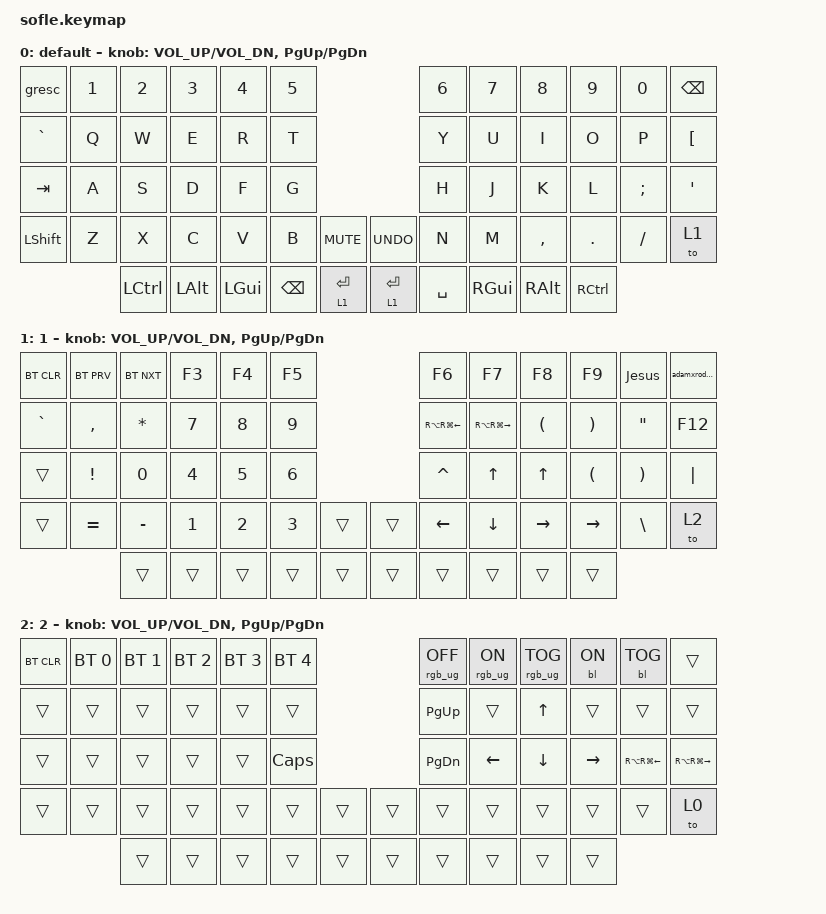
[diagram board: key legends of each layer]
/*
 * Copyright (c) 2020 The ZMK Contributors
 *
 * SPDX-License-Identifier: MIT
 */

#include <behaviors.dtsi>
#include <dt-bindings/zmk/backlight.h>
#include <dt-bindings/zmk/bt.h>
#include <dt-bindings/zmk/keys.h>
#include <dt-bindings/zmk/rgb.h>

#define BASE 0
#define LOWER 1
#define RAISE 2
#define ADJUST 3

/ {
    // Activate ADJUST layer by pressing raise and lower

    conditional_layers {
        compatible = "zmk,conditional-layers";

        adjust_layer {
            if-layers = <1 2>;
            then-layer = <3>;
        };
    };

    behaviors {
        rot_pg: rot_pg {
            compatible = "zmk,behavior-sensor-rotate";   // or "zmk,behavior-sensor-rotate-var"
            #sensor-binding-cells = <0>;
            bindings = <&kp PG_UP>, <&kp PG_DN>;

            // CW -> PgUp, CCW -> PgDn
        };

        rot_kp: sensor_rotate_kp {
            compatible = "zmk,behavior-sensor-rotate-var";
            #sensor-binding-cells = <2>;     // VAR needs 2 params
            bindings = <&kp>, <&kp>;

            // CW uses first &kp param, CCW uses second

            tap-ms = <5>;                    // optional
        };
    };

    macros {
        Jesus: Jesus {
            compatible = "zmk,behavior-macro";
            #binding-cells = <0>;
            bindings = <&kp LS(J) &kp E &kp S &kp U &kp S>;
            label = "JESUS";
        };

        adamxrodriguez: adamxrodriguez {
            compatible = "zmk,behavior-macro";
            #binding-cells = <0>;
            bindings = <&kp A &kp D &kp A &kp M &kp X &kp R &kp O &kp D &kp R &kp I &kp G &kp U &kp E &kp Z &kp AT &kp G &kp M &kp A &kp I &kp L &kp DOT &kp C &kp O &kp M>;
            label = "ADAMXRODRIGUEZ";
        };
    };

    keymap {
        compatible = "zmk,keymap";

        base_layer {
            display-name = "default";

            // ------------------------------------------------------------------------------------------------------------
            // |   `   |  1  |  2  |  3   |  4   |  5   |                   |  6   |  7    |  8    |  9   |   0   |       |
            // |  ESC  |  Q  |  W  |  E   |  R   |  T   |                   |  Y   |  U    |  I    |  O   |   P   | BKSPC |
            // |  TAB  |  A  |  S  |  D   |  F   |  G   |                   |  H   |  J    |  K    |  L   |   ;   |   '   |
            // | SHIFT |  Z  |  X  |  C   |  V   |  B   |  MUTE  |  |       |  N   |  M    |  ,    |  .   |   /   | SHIFT |
            //               | GUI | ALT  | CTRL | LOWER|  ENTER |  | SPACE | RAISE| CTRL  | ALT   | GUI  |

            bindings = <
&gresc     &kp N1  &kp N2     &kp N3    &kp N4    &kp N5                                       &kp N6     &kp N7    &kp N8     &kp N9     &kp N0    &kp BACKSPACE
&kp GRAVE  &kp Q   &kp W      &kp E     &kp R     &kp T                                        &kp Y      &kp U     &kp I      &kp O      &kp P     &kp LEFT_BRACKET
&kp TAB    &kp A   &kp S      &kp D     &kp F     &kp G                                        &kp H      &kp J     &kp K      &kp L      &kp SEMI  &kp SQT
&kp LSHFT  &kp Z   &kp X      &kp C     &kp V     &kp B          &kp C_MUTE      &kp K_UNDO    &kp N      &kp M     &kp COMMA  &kp DOT    &kp FSLH  &to 1
                   &kp LCTRL  &kp LALT  &kp LGUI  &kp BACKSPACE  &lt 1 RETURN    &lt 1 RETURN  &kp SPACE  &kp RGUI  &kp RALT   &kp RCTRL
            >;

            sensor-bindings = <&inc_dec_kp C_VOL_UP C_VOL_DN &inc_dec_kp PG_UP PG_DN>;
        };

        numbers {
            display-name = "1";

            // TODO: Some binds are waiting for shifted keycode support.
            // ------------------------------------------------------------------------------------------------------------
            // |       |  F1 |  F2 |  F3  |  F4  |  F5  |                   |  F6  |  F7   |  F8   |  F9  |  F10  |  F11  |
            // |   `   |  1  |  2  |  3   |  4   |  5   |                   |  6   |  7    |  8    |  9   |   0   |  F12  |
            // |       |  !  |  @  |  #   |  $   |  %   |                   |  ^   |  &    |  *    |  (   |   )   |   |   |
            // |       |  =  |  -  |  +   |  {   |  }   |        |  |       |  [   |  ]    |  ;    |  :   |   \   |       |
            //               |     |      |      |      |        |  |       |      |       |       |      |

            bindings = <
&bt BT_CLR  &bt BT_PRV  &bt BT_NXT    &kp F3        &kp F4        &kp F5                          &kp F6                  &kp F7                   &kp F8                &kp F9                 &Jesus             &adamxrodriguez
&kp GRAVE   &kp COMMA   &kp ASTERISK  &kp NUMBER_7  &kp NUMBER_8  &kp NUMBER_9                    &kp RA(RG(LEFT_ARROW))  &kp RA(RG(RIGHT_ARROW))  &kp LEFT_PARENTHESIS  &kp RIGHT_PARENTHESIS  &kp DOUBLE_QUOTES  &kp F12
&trans      &kp EXCL    &kp N0        &kp NUMBER_4  &kp NUMBER_5  &kp NUMBER_6                    &kp CARET               &kp UP_ARROW             &kp UP_ARROW          &kp LPAR               &kp RPAR           &kp PIPE
&trans      &kp EQUAL   &kp MINUS     &kp NUMBER_1  &kp NUMBER_2  &kp NUMBER_3  &trans    &trans  &kp LEFT_ARROW          &kp DOWN_ARROW           &kp RIGHT_ARROW       &kp RIGHT_ARROW        &kp BSLH           &to 2
                        &trans        &trans        &trans        &trans        &trans    &trans  &trans                  &trans                   &trans                &trans
            >;

            sensor-bindings = <&inc_dec_kp C_VOL_UP C_VOL_DN &inc_dec_kp PG_UP PG_DN>;
        };

        functions {
            display-name = "2";

            // ------------------------------------------------------------------------------------------------------------
            // | BTCLR | BT1  | BT2  |  BT3  |  BT4  |  BT5 |                |      |      |       |      |       |       |
            // |       | INS  | PSCR | GUI   |       |      |                | PGUP |      |   ^   |      |       |       |
            // |       | ALT  | CTRL | SHIFT |       | CAPS |                | PGDN |   <- |   v   |  ->  |  DEL  | BKSPC |
            // |       | UNDO | CUT  | COPY  | PASTE |      |      |  |      |      |      |       |      |       |       |
            //                |      |       |       |      |      |  |      |      |      |       |      |

            bindings = <
&bt BT_CLR  &bt BT_SEL 0  &bt BT_SEL 1  &bt BT_SEL 2  &bt BT_SEL 3  &bt BT_SEL 4                    &rgb_ug RGB_OFF  &rgb_ug RGB_ON  &rgb_ug RGB_TOG  &bl BL_ON  &bl BL_TOG              &trans
&trans      &trans        &trans        &trans        &trans        &trans                          &kp PG_UP        &trans          &kp UP           &trans     &trans                  &trans
&trans      &trans        &trans        &trans        &trans        &kp CLCK                        &kp PG_DN        &kp LEFT        &kp DOWN         &kp RIGHT  &kp RA(RG(LEFT_ARROW))  &kp RA(RG(RIGHT_ARROW))
&trans      &trans        &trans        &trans        &trans        &trans        &trans    &trans  &trans           &trans          &trans           &trans     &trans                  &to 0
                          &trans        &trans        &trans        &trans        &trans    &trans  &trans           &trans          &trans           &trans
            >;

            sensor-bindings = <&inc_dec_kp C_VOL_UP C_VOL_DN &inc_dec_kp PG_UP PG_DN>;
        };
    };
};
